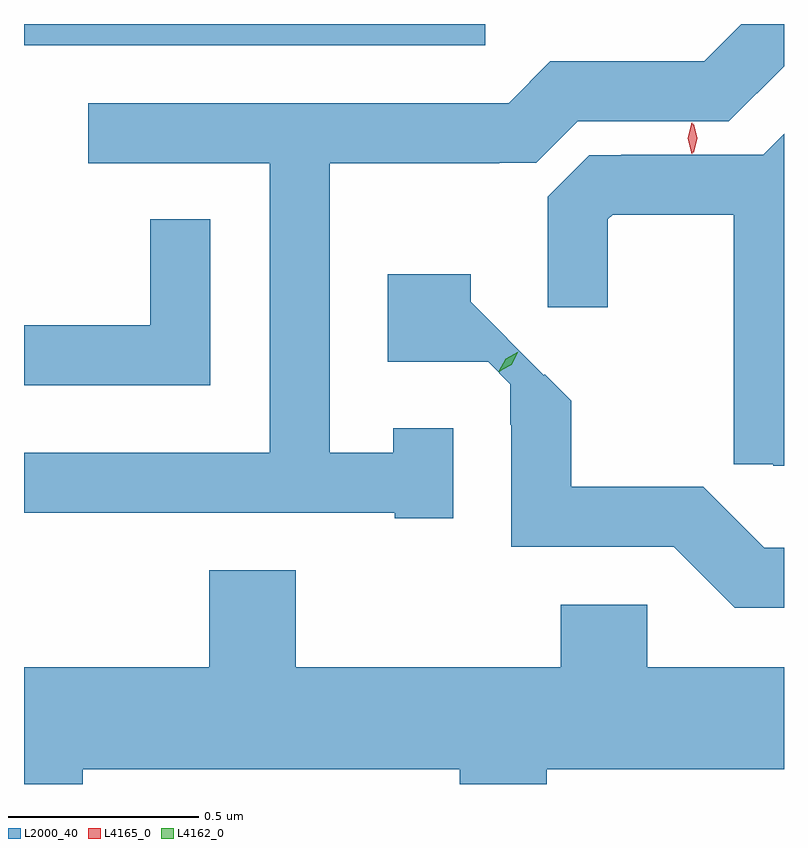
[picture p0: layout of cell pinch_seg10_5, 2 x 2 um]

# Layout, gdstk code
import gdstk
lib = gdstk.Library(unit=1e-6, precision=1e-09)
def R(c, l, rs):  # rectangles x0, y0, x1, y1
    for r in rs: c.add(gdstk.rectangle(r[:2], r[2:], *l))
def P(c, l, *ps):  # polygons
    for p in ps: c.add(gdstk.Polygon(p, *l))
L2000_40 = (2000, 40)
L4162_0 = (4162, 0)
L4165_0 = (4165, 0)

pinch_seg10_5 = lib.new_cell('pinch_seg10_5')
R(pinch_seg10_5, L2000_40, [(848.814,2144.681,850.028,2144.737)])
P(pinch_seg10_5, L2000_40, [(849.944,2143.673),(849.786,2143.673),(849.786,2143.609),(849.619,2143.609),(849.619,2144.371),(850.065,2144.371),(850.065,2144.372),(850.162,2144.372),(850.271,2144.481),(850.669,2144.481),(850.814,2144.626),(850.814,2144.737),(850.702,2144.737),(850.604,2144.639),(850.199,2144.639),(850.089,2144.529),(848.983,2144.529),(848.983,2144.371),(849.461,2144.371),(849.461,2143.609),(848.814,2143.609),(848.814,2143.451),(849.79,2143.451),(849.79,2143.436),(849.944,2143.436)],
  [(850.814,2144.448),(850.76,2144.393),(850.386,2144.393),(850.386,2144.392),(850.302,2144.392),(850.192,2144.282),(850.192,2143.992),(850.35,2143.992),(850.35,2144.223),(850.363,2144.235),(850.682,2144.235),(850.682,2143.579),(850.786,2143.579),(850.786,2143.575),(850.814,2143.575)],
  [(849.304,2144.223),(849.146,2144.223),(849.146,2143.944),(848.814,2143.944),(848.814,2143.786),(849.304,2143.786)],
  [(850.814,2143.359),(850.762,2143.359),(850.602,2143.519),(850.254,2143.519),(850.254,2143.745),(850.184,2143.815),(850.182,2143.813),(849.989,2144.006),(849.989,2144.079),(849.771,2144.079),(849.771,2143.848),(850.036,2143.848),(850.094,2143.789),(850.094,2143.683),(850.096,2143.683),(850.096,2143.361),(850.524,2143.361),(850.684,2143.201),(850.814,2143.201)],
  [(848.969,2142.776),(849.961,2142.776),(849.961,2142.737),(850.189,2142.737),(850.189,2142.776),(850.814,2142.776),(850.814,2143.044),(850.454,2143.044),(850.454,2143.209),(850.226,2143.209),(850.226,2143.044),(849.529,2143.044),(849.529,2143.299),(849.301,2143.299),(849.301,2143.044),(848.814,2143.044),(848.814,2142.737),(848.969,2142.737)])
P(pinch_seg10_5, L4162_0, [(850.063,2143.822),(850.063,2143.823),(850.082,2143.856),(850.114,2143.875),(850.115,2143.875),(850.115,2143.874),(850.096,2143.841),(850.064,2143.822)],
  [(850.07,2143.826),(850.07,2143.826),(850.083,2143.854),(850.11,2143.869),(850.111,2143.869),(850.111,2143.868),(850.097,2143.84),(850.07,2143.826)])
P(pinch_seg10_5, L4165_0, [(850.571,2144.396),(850.571,2144.396),(850.561,2144.436),(850.571,2144.477),(850.571,2144.477),(850.572,2144.477),(850.581,2144.436),(850.572,2144.396)],
  [(850.576,2144.398),(850.576,2144.398),(850.566,2144.436),(850.576,2144.475),(850.576,2144.475),(850.577,2144.475),(850.586,2144.436),(850.577,2144.398)])

lib.write_gds('pinch_seg10_5.gds')
